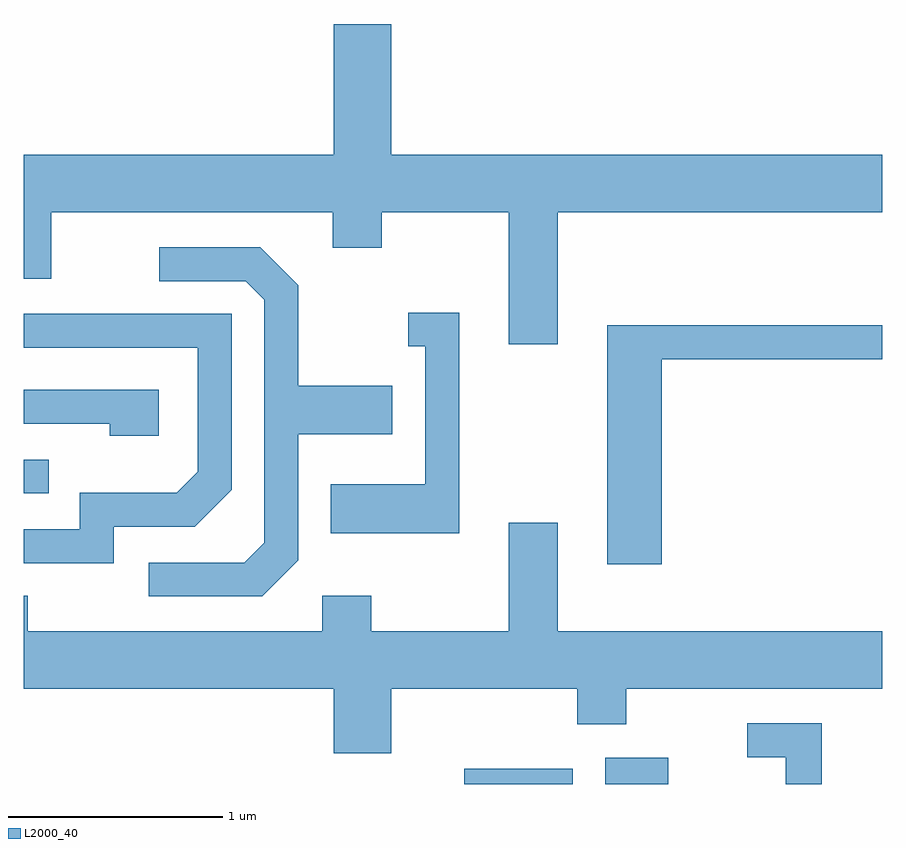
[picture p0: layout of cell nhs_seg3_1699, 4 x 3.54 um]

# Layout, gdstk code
import gdstk
lib = gdstk.Library(unit=1e-6, precision=1e-09)
def R(c, l, rs):  # rectangles x0, y0, x1, y1
    for r in rs: c.add(gdstk.rectangle(r[:2], r[2:], *l))
def P(c, l, *ps):  # polygons
    for p in ps: c.add(gdstk.Polygon(p, *l))
L2000_40 = (2000, 40)

nhs_seg3_1699 = lib.new_cell('nhs_seg3_1699')
R(nhs_seg3_1699, L2000_40, [(235.663,1249.892,236.169,1249.964), (236.321,1249.892,236.614,1250.014), (233.611,1251.246,233.728,1251.404)])
P(nhs_seg3_1699, L2000_40, [(236.099,1252.556),(237.611,1252.556),(237.611,1252.824),(235.324,1252.824),(235.324,1253.434),(235.056,1253.434),(235.056,1252.824),(233.611,1252.824),(233.611,1252.246),(233.739,1252.246),(233.739,1252.556),(235.051,1252.556),(235.051,1252.391),(235.279,1252.391),(235.279,1252.556),(235.871,1252.556),(235.871,1251.941),(236.099,1251.941)],
  [(234.889,1250.934),(234.889,1251.521),(235.329,1251.521),(235.329,1251.749),(234.889,1251.749),(234.889,1252.217),(234.712,1252.394),(234.243,1252.394),(234.243,1252.236),(234.644,1252.236),(234.731,1252.149),(234.731,1251.017),(234.639,1250.924),(234.193,1250.924),(234.193,1250.766),(234.722,1250.766)],
  [(235.639,1252.089),(235.403,1252.089),(235.403,1251.931),(235.481,1251.931),(235.481,1251.289),(235.041,1251.289),(235.041,1251.061),(235.639,1251.061)],
  [(234.029,1251.091),(234.407,1251.091),(234.579,1251.264),(234.579,1252.084),(233.611,1252.084),(233.611,1251.926),(234.421,1251.926),(234.421,1251.347),(234.324,1251.249),(233.871,1251.249),(233.871,1251.079),(233.611,1251.079),(233.611,1250.921),(234.029,1250.921)],
  [(236.584,1251.871),(237.611,1251.871),(237.611,1252.029),(236.331,1252.029),(236.331,1250.916),(236.584,1250.916)],
  [(234.239,1251.729),(233.611,1251.729),(233.611,1251.571),(234.011,1251.571),(234.011,1251.516),(234.239,1251.516)],
  [(235.324,1250.336),(236.191,1250.336),(236.191,1250.171),(236.419,1250.171),(236.419,1250.336),(237.611,1250.336),(237.611,1250.604),(236.099,1250.604),(236.099,1251.109),(235.871,1251.109),(235.871,1250.604),(235.229,1250.604),(235.229,1250.769),(235.001,1250.769),(235.001,1250.604),(233.629,1250.604),(233.629,1250.769),(233.611,1250.769),(233.611,1250.336),(235.056,1250.336),(235.056,1250.036),(235.324,1250.036)],
  [(237.329,1250.174),(236.983,1250.174),(236.983,1250.016),(237.161,1250.016),(237.161,1249.892),(237.329,1249.892)])

lib.write_gds('nhs_seg3_1699.gds')
